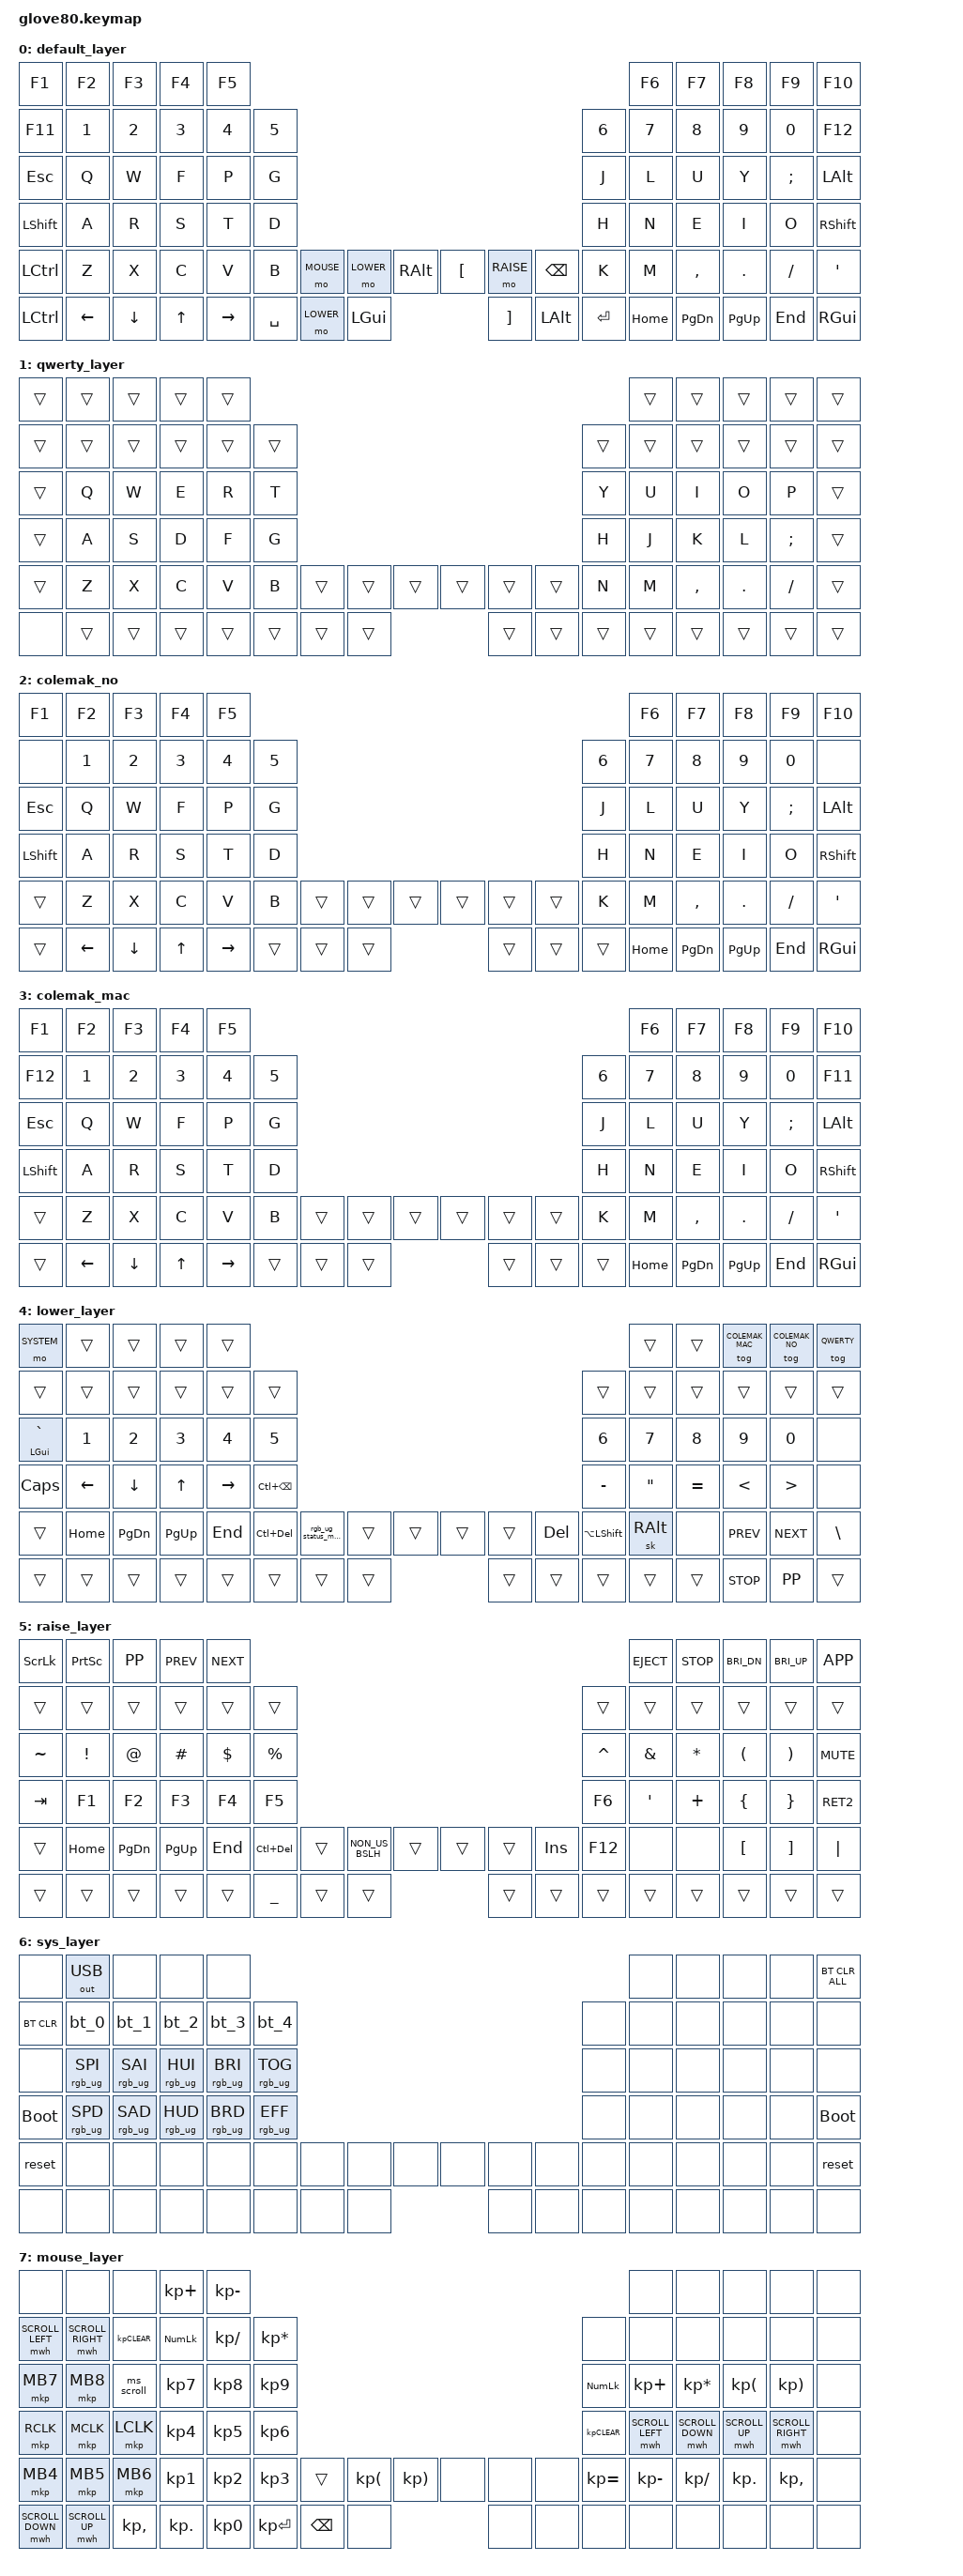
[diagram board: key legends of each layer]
/*
 * Copyright (c) 2020 The ZMK Contributors
 *
 * SPDX-License-Identifier: MIT
 */

#include <behaviors.dtsi>
#include <dt-bindings/zmk/keys.h>
#include <dt-bindings/zmk/bt.h>
#include <dt-bindings/zmk/mouse.h>
#include <dt-bindings/zmk/ext_power.h>
#include <dt-bindings/zmk/outputs.h>
#include <dt-bindings/zmk/rgb.h>

#define HYPER LC(LS(LG(LALT)))

#define DEFAULT    0
#define QWERTY     1
#define COLEMAK_NO 2
#define COLEMAK_MAC 3
#define LOWER      4
#define RAISE      5
#define SYSTEM     6
#define MOUSE      7
//34 is first key on 3rd row
/ {
    combos {
       compatible = "zmk,combos";
       combo_return {
           timeout-ms = <75>;
           key-positions = <35 36 37>;
           layers = <DEFAULT COLEMAK_NO COLEMAK_MAC QWERTY>;
           bindings = <&kp ENTER>;
       };
       combo_cbsp {
           timeout-ms = <50>;
           key-positions = <36 37 38>;
           layers = <DEFAULT COLEMAK_NO COLEMAK_MAC QWERTY>;
           bindings = <&kp LC(BSPC)>;
       };
       combo_tab {
           timeout-ms = <50>;
           key-positions = <41 42 43>;
           layers = <DEFAULT COLEMAK_NO COLEMAK_MAC QWERTY>;
           bindings = <&kp TAB>;
       };
       combo_esc {
           timeout-ms = <50>;
           key-positions = <42 43 44>;
           layers = <DEFAULT COLEMAK_NO COLEMAK_MAC QWERTY>;
           bindings = <&kp ESC>;
       };
       combo_aa {
           timeout-ms = <50>;
           key-positions = <24 35>;
           layers = <DEFAULT QWERTY>;
           bindings = <&nrw_aa>;
       };
       combo_ae {
           timeout-ms = <50>;
           key-positions = <42 44>;
           layers = <DEFAULT QWERTY>;
           bindings = <&nrw_ae>;
       };
       combo_os1 {
           timeout-ms = <50>;
           key-positions = <30 40>;
           layers = <DEFAULT QWERTY>;
           bindings = <&nrw_os>;
       };
       combo_no_aa {
           timeout-ms = <50>;
           key-positions = <24 35>;
           layers = <COLEMAK_NO>;
           bindings = <&kp LBKT>;
       };
       combo_no_ae {
           timeout-ms = <50>;
           key-positions = <42 44>;
           layers = <COLEMAK_NO>;
           bindings = <&kp SQT>;
       };
       combo_no_os1 {
           timeout-ms = <50>;
           key-positions = <30 40>;
           layers = <COLEMAK_NO>;
           bindings = <&kp SEMI>;
       };
       combo_mac_aa {
           timeout-ms = <50>;
           key-positions = <24 35>;
           layers = <COLEMAK_MAC>;
           bindings = <&kp LA(A)>;
       };
       combo_mac_ae {
           timeout-ms = <50>;
           key-positions = <42 44>;
           layers = <COLEMAK_MAC>;
           bindings = <&kp LA(SQT)>;
       };
       combo_mac_os1 {
           timeout-ms = <50>;
           key-positions = <30 40>;
           layers = <COLEMAK_MAC>;
           bindings = <&kp LA(O)>;
       };
       combo_tmux_prev {
           timeout-ms = <50>;
           key-positions = <35 60>;
           layers = <DEFAULT QWERTY COLEMAK_NO COLEMAK_MAC>;
           bindings = <&tmux_prev>;
       };
       combo_tmux_copy {
           timeout-ms = <50>;
           key-positions = <36 60>;
           layers = <DEFAULT QWERTY COLEMAK_NO COLEMAK_MAC>;
           bindings = <&tmux_copy>;
       };
       combo_tmux_list {
           timeout-ms = <50>;
           key-positions = <37 60>;
           layers = <DEFAULT QWERTY COLEMAK_NO COLEMAK_MAC>;
           bindings = <&tmux_list>;
       };
       combo_tmux_next {
           timeout-ms = <50>;
           key-positions = <38 60>;
           layers = <DEFAULT QWERTY COLEMAK_NO COLEMAK_MAC>;
           bindings = <&tmux_next>;
       };
       combo_tmux_create {
           timeout-ms = <50>;
           key-positions = <39 60>;
           layers = <DEFAULT QWERTY COLEMAK_NO COLEMAK_MAC>;
           bindings = <&tmux_create>;
       };
       combo_screen_prev {
           timeout-ms = <50>;
           key-positions = <35 61>;
           layers = <DEFAULT QWERTY COLEMAK_NO COLEMAK_MAC>;
           bindings = <&screen_prev>;
       };
       combo_screen_copy {
           timeout-ms = <50>;
           key-positions = <36 61>;
           layers = <DEFAULT QWERTY COLEMAK_NO COLEMAK_MAC>;
           bindings = <&screen_copy>;
       };
       combo_screen_list {
           timeout-ms = <50>;
           key-positions = <37 61>;
           layers = <DEFAULT QWERTY COLEMAK_NO COLEMAK_MAC>;
           bindings = <&screen_list>;
       };
       combo_screen_next {
           timeout-ms = <50>;
           key-positions = <38 61>;
           layers = <DEFAULT QWERTY COLEMAK_NO COLEMAK_MAC>;
           bindings = <&screen_next>;
       };
       combo_screen_create {
           timeout-ms = <50>;
           key-positions = <39 61>;
           layers = <DEFAULT QWERTY COLEMAK_NO COLEMAK_MAC>;
           bindings = <&screen_create>;
       };
       combo_mouse_up {
           timeout-ms = <50>;
           key-positions = <37 38>;
           layers = <LOWER>;
           bindings = <&mwh SCROLL_UP>;
       };
       combo_mouse_down {
           timeout-ms = <50>;
           key-positions = <35 36>;
           layers = <LOWER>;
           bindings = <&mwh SCROLL_DOWN>;
       };
    };
    behaviors {
    }; 
    macros {
          nrw_aa: nrw_aa {
              label = "Norwegian_aa";
              compatible = "zmk,behavior-macro";
              wait-ms = <1>;
              tap-ms = <1>;
              #binding-cells = <0>;
              bindings = <&macro_tap &kp RGUI &kp A  &kp A>;
          };
          nrw_ae: nrw_ae {
              label = "Norwegian_ae";
              compatible = "zmk,behavior-macro";
              wait-ms = <1>;
              tap-ms = <1>;
              #binding-cells = <0>;
              bindings = <&macro_tap &kp RGUI &kp A  &kp E>;
          };
          nrw_os: nrw_os {
              label = "Norwegian_os";
              compatible = "zmk,behavior-macro";
              wait-ms = <1>;
              tap-ms = <1>;
              #binding-cells = <0>;
              bindings = <&macro_tap &kp RGUI &kp O &kpc LS(RS(SLASH))>;
          };
          ms_scroll: ms_scroll {
              label = "Ploopy_scroll";
              compatible = "zmk,behavior-macro";
              wait-ms = <11>;
              tap-ms = <11>;
              #binding-cells = <0>;
              bindings = <&macro_tap &kp KP_NUM &kp KP_NUM>;
          };
          tmux_prev: tmux_prev {
              label = "TMUX_previous";
              compatible = "zmk,behavior-macro";
              wait-ms = <10>;
              tap-ms = <10>;
              #binding-cells = <0>;
              bindings 
                = <&macro_press &kp LCTL>
                , <&macro_tap &kp B>
                , <&macro_release &kp LCTL>
                , <&macro_tap  &kp P>;
          };
          tmux_next: tmux_next {
              label = "TMUX_next";
              compatible = "zmk,behavior-macro";
              wait-ms = <10>;
              tap-ms = <10>;
              #binding-cells = <0>;
              bindings 
                = <&macro_press &kp LCTL>
                , <&macro_tap &kp B>
                , <&macro_release &kp LCTL>
                , <&macro_tap  &kp N>;
          };
          tmux_list: tmux_list {
              label = "TMUX_list";
              compatible = "zmk,behavior-macro";
              wait-ms = <10>;
              tap-ms = <10>;
              #binding-cells = <0>;
              bindings 
                = <&macro_press &kp LCTL>
                , <&macro_tap &kp B>
                , <&macro_release &kp LCTL>
                , <&macro_tap  &kp W>;
          };
          tmux_copy: tmux_copy {
              label = "TMUX_copy";
              compatible = "zmk,behavior-macro";
              wait-ms = <10>;
              tap-ms = <10>;
              #binding-cells = <0>;
              bindings 
                = <&macro_press &kp LCTL>
                , <&macro_tap &kp B>
                , <&macro_release &kp LCTL>
                , <&macro_tap  &kp LBKT>;
          };
          tmux_create: tmux_create {
              label = "TMUX_create";
              compatible = "zmk,behavior-macro";
              wait-ms = <10>;
              tap-ms = <10>;
              #binding-cells = <0>;
              bindings 
                = <&macro_press &kp LCTL>
                , <&macro_tap &kp B>
                , <&macro_release &kp LCTL>
                , <&macro_tap  &kp C>;
          };

          screen_prev: screen_prev {
              label = "SCREEN_previous";
              compatible = "zmk,behavior-macro";
              wait-ms = <10>;
              tap-ms = <10>;
              #binding-cells = <0>;
              bindings 
                = <&macro_press &kp LCTL>
                , <&macro_tap &kp A>
                , <&macro_release &kp LCTL>
                , <&macro_tap  &kp P>;
          };
          screen_next: screen_next {
              label = "SCREEN_next";
              compatible = "zmk,behavior-macro";
              wait-ms = <10>;
              tap-ms = <10>;
              #binding-cells = <0>;
              bindings 
                = <&macro_press &kp LCTL>
                , <&macro_tap &kp A>
                , <&macro_release &kp LCTL>
                , <&macro_tap  &kp N>;
          };
          screen_list: screen_list {
              label = "SCREEN_list";
              compatible = "zmk,behavior-macro";
              wait-ms = <10>;
              tap-ms = <10>;
              #binding-cells = <0>;
              bindings 
                = <&macro_press &kp LCTL>
                , <&macro_tap &kp A>
                , <&macro_release &kp LCTL>
                , <&macro_tap &kp DQT>;
          };
          screen_copy: screen_copy {
              label = "SCREEN_copy";
              compatible = "zmk,behavior-macro";
              wait-ms = <10>;
              tap-ms = <10>;
              #binding-cells = <0>;
              bindings 
                = <&macro_press &kp LCTL>
                , <&macro_tap &kp A>
                , <&macro_release &kp LCTL>
                , <&macro_tap &kp ESC>;
          };
          screen_create: screen_create {
              label = "SCREEN_create";
              compatible = "zmk,behavior-macro";
              wait-ms = <10>;
              tap-ms = <10>;
              #binding-cells = <0>;
              bindings 
                = <&macro_press &kp LCTL>
                , <&macro_tap &kp A>
                , <&macro_release &kp LCTL>
                , <&macro_tap  &kp C>;
          };
        rgb_ug_status_macro: rgb_ug_status_macro_0 {
            label = "RGB_UG_STATUS";
            compatible = "zmk,behavior-macro";
            #binding-cells = <0>;
            bindings
                = <&rgb_ug RGB_STATUS>;
        };
        bt_0: bt_profile_macro_0 {
            label = "BT_0";
            compatible = "zmk,behavior-macro";
            #binding-cells = <0>;
            bindings
                = <&out OUT_BLE>,
                  <&bt BT_SEL 0>;
        };
        bt_1: bt_profile_macro_1 {
            label = "BT_1";
            compatible = "zmk,behavior-macro";
            #binding-cells = <0>;
            bindings
                = <&out OUT_BLE>,
                  <&bt BT_SEL 1>;
        };
        bt_2: bt_profile_macro_2 {
            label = "BT_2";
            compatible = "zmk,behavior-macro";
            #binding-cells = <0>;
            bindings
                = <&out OUT_BLE>,
                  <&bt BT_SEL 2>;
        };
        bt_3: bt_profile_macro_3 {
            label = "BT_3";
            compatible = "zmk,behavior-macro";
            #binding-cells = <0>;
            bindings
                = <&out OUT_BLE>,
                  <&bt BT_SEL 3>;
        };
        bt_4: bt_profile_macro_4 {
            label = "BT_4";
            compatible = "zmk,behavior-macro";
            #binding-cells = <0>;
            bindings
                = <&out OUT_BLE>,
                  <&bt BT_SEL 4>;
        };
    };

    magic: magic_hold_tap {
        compatible = "zmk,behavior-hold-tap";
        label = "MAGIC_HOLD_TAP";
        #binding-cells = <2>;
        flavor = "tap-preferred";
        tapping-term-ms = <200>;
        bindings = <&mo>, <&rgb_ug_status_macro>;
    };

    keymap {
        compatible = "zmk,keymap";
        default_layer {
            bindings = <
                &kp F1         &kp F2   &kp F3      &kp F4      &kp F5                                                                                         &kp F6   &kp F7      &kp F8      &kp F9      &kp F10
                &kp F11        &kp N1   &kp N2      &kp N3      &kp N4      &kp N5                                                                     &kp N6  &kp N7   &kp N8      &kp N9      &kp N0      &kp F12
                &kp ESC        &kp Q    &kp W       &kp F       &kp P       &kp G                                                                      &kp J   &kp L    &kp U       &kp Y       &kp SEMI    &kp LALT
                &kp LSHFT      &kp A    &kp R       &kp S       &kp T       &kp D                                                                      &kp H   &kp N    &kp E       &kp I       &kp O       &kp RSHFT
                &kp LCTRL      &kp Z    &kp X       &kp C       &kp V       &kp B   &mo MOUSE   &mo LOWER   &kp RALT  &kp LBKT   &mo RAISE  &kp BSPC   &kp K   &kp M    &kp COMMA   &kp DOT     &kp FSLH    &kp SQT
                &kp LCTRL      &kp LEFT &kp DOWN    &kp UP      &kp RIGHT           &kp SPACE   &mo LOWER   &kp LGUI  &kp RBKT   &kp LALT   &kp RET           &kp HOME &kp PG_DN   &kp PG_UP   &kp END     &kp RGUI
                >;
        };

        qwerty_layer {
            bindings = <
                &trans         &trans   &trans      &trans      &trans                                                                                         &trans   &trans      &trans      &trans      &trans
                &trans         &trans   &trans      &trans      &trans      &trans                                                                     &trans  &trans   &trans      &trans      &trans      &trans
                &trans         &kp Q    &kp W       &kp E       &kp R       &kp T                                                                      &kp Y   &kp U    &kp I       &kp O       &kp P       &trans
                &trans         &kp A    &kp S       &kp D       &kp F       &kp G                                                                      &kp H   &kp J    &kp K       &kp L       &kp SEMI    &trans
                &trans         &kp Z    &kp X       &kp C       &kp V       &kp B   &trans      &trans      &trans    &trans    &trans     &trans      &kp N   &kp M    &kp COMMA   &kp DOT     &kp FSLH    &trans
                &none          &trans   &trans      &trans      &trans              &trans      &trans      &trans    &trans    &trans     &trans              &trans   &trans      &trans      &trans      &trans
                >;
        };

        colemak_no {
            bindings = <
                &kp F1         &kp F2   &kp F3      &kp F4      &kp F5                                                                                         &kp F6   &kp F7      &kp F8      &kp F9      &kp F10
                &none          &kp N1   &kp N2      &kp N3      &kp N4      &kp N5                                                                     &kp N6  &kp N7   &kp N8      &kp N9      &kp N0      &none 
                &kp ESC        &kp Q    &kp W       &kp F       &kp P       &kp G                                                                      &kp J   &kp L    &kp U       &kp Y       &kp SEMI    &kp LALT
                &kp LSHFT      &kp A    &kp R       &kp S       &kp T       &kp D                                                                      &kp H   &kp N    &kp E       &kp I       &kp O       &kp RSHFT
                &trans         &kp Z    &kp X       &kp C       &kp V       &kp B   &trans      &trans      &trans    &trans    &trans     &trans      &kp K   &kp M    &kp COMMA   &kp DOT     &kp FSLH    &kp SQT
                &trans         &kp LEFT &kp DOWN    &kp UP      &kp RIGHT           &trans      &trans      &trans    &trans    &trans     &trans              &kp HOME &kp PG_DN   &kp PG_UP   &kp END     &kp RGUI
                >;
        };

        colemak_mac {
            bindings = <
                &kp F1         &kp F2   &kp F3      &kp F4      &kp F5                                                                                         &kp F6   &kp F7      &kp F8      &kp F9      &kp F10
                &kp F12        &kp N1   &kp N2      &kp N3      &kp N4      &kp N5                                                                     &kp N6  &kp N7   &kp N8      &kp N9      &kp N0      &kp F11 
                &kp ESC        &kp Q    &kp W       &kp F       &kp P       &kp G                                                                      &kp J   &kp L    &kp U       &kp Y       &kp SEMI    &kp LALT
                &kp LSHFT      &kp A    &kp R       &kp S       &kp T       &kp D                                                                      &kp H   &kp N    &kp E       &kp I       &kp O       &kp RSHFT
                &trans         &kp Z    &kp X       &kp C       &kp V       &kp B   &trans      &trans      &trans    &trans    &trans     &trans      &kp K   &kp M    &kp COMMA   &kp DOT     &kp FSLH    &kp SQT
                &trans         &kp LEFT &kp DOWN    &kp UP      &kp RIGHT           &trans      &trans      &trans    &trans    &trans     &trans              &kp HOME &kp PG_DN   &kp PG_UP   &kp END     &kp RGUI
                >;
        };

        lower_layer {
            bindings = <
                &mo SYSTEM     &trans   &trans      &trans      &trans                                                                                                          &trans   &trans    &tog COLEMAK_MAC &tog COLEMAK_NO &tog QWERTY
                &trans         &trans   &trans      &trans      &trans      &trans                                                                                &trans        &trans   &trans    &trans           &trans          &trans
                &mt LGUI GRAVE &kp N1   &kp N2      &kp N3      &kp N4      &kp N5                                                                                &kp N6        &kp N7   &kp N8    &kp N9           &kp N0          &none
                &kp CAPS       &kp LEFT &kp DOWN    &kp UP      &kp RIGHT   &kp LC(BSPC)                                                                          &kp MINUS     &kp DQT  &kp EQUAL &kp LT           &kp GT          &none
                &trans         &kp HOME &kp PG_DN   &kp PG_UP   &kp END     &kp LC(DEL)   &rgb_ug_status_macro &trans &trans     &trans    &trans     &kp DEL     &kp LA(LSHFT) &sk RALT &none     &kp K_PREV       &kp K_NEXT      &kp BSLH
                &trans         &trans   &trans      &trans      &trans                    &trans      &trans      &trans         &trans    &trans     &trans                    &trans   &trans    &kp K_STOP       &kp K_PP        &trans
                >;
        };

        raise_layer {
            bindings = <
                &kp SLCK       &kp PSCRN &kp K_PP    &kp K_PREV  &kp K_NEXT                                                                                                    &kp K_EJECT &kp K_STOP  &kp C_BRI_DN &kp C_BRI_UP &kp K_APP
                &trans         &trans    &trans      &trans      &trans      &trans                                                                             &trans         &trans      &trans      &trans       &trans       &trans
                &kp TILDE      &kp EXCL  &kp AT      &kp HASH    &kp DLLR    &kp PRCNT                                                                          &kp CARET      &kp AMPS    &kp ASTRK   &kp LPAR     &kp RPAR     &kp K_MUTE
                &kp TAB        &kp F1    &kp F2      &kp F3      &kp F4      &kp F5                                                                             &kp F6         &kp SQT     &kp PLUS    &kp LBRC     &kp RBRC     &kp RET2
                &trans         &kp HOME  &kp PG_DN   &kp PG_UP   &kp END     &kp LC(DEL)   &trans      &kp NON_US_BSLH &trans  &trans    &trans     &kp INS     &kp F12        &none       &none       &kp LBKT     &kp RBKT     &kp PIPE
                &trans         &trans    &trans      &trans      &trans                    &kp UNDER   &trans          &trans  &trans    &trans     &trans                     &trans      &trans      &trans       &trans       &trans
                >;
        };

        sys_layer {
            bindings = <
            &none             &out OUT_USB        &none           &none           &none                                                                                                &none &none &none &none  &bt BT_CLR_ALL
            &bt BT_CLR        &bt_0               &bt_1           &bt_2           &bt_3           &bt_4                                                                          &none &none &none &none &none  &none
            &none             &rgb_ug RGB_SPI     &rgb_ug RGB_SAI &rgb_ug RGB_HUI &rgb_ug RGB_BRI &rgb_ug RGB_TOG                                                                &none &none &none &none &none  &none
            &bootloader       &rgb_ug RGB_SPD     &rgb_ug RGB_SAD &rgb_ug RGB_HUD &rgb_ug RGB_BRD &rgb_ug RGB_EFF                                                                &none &none &none &none &none  &bootloader
            &reset            &none               &none           &none           &none           &none           &none     &none     &none            &none     &none     &none &none &none &none &none &none  &reset
            &none             &none               &none           &none           &none                           &none     &none     &none            &none     &none     &none       &none &none &none &none  &none
            >;
        };
        mouse_layer {
            bindings = <
            &none            &none             &none        &kp KP_PLUS &kp KP_MINUS                                                                                         &none            &none            &none          &none             &none
            &mwh SCROLL_LEFT &mwh SCROLL_RIGHT &kp KP_CLEAR &kp KP_NUM  &kp KP_DIVIDE &kp KP_MULTIPLY                                                           &none        &none            &none            &none          &none             &none
            &mkp MB7         &mkp MB8          &ms_scroll   &kp KP_N7   &kp KP_N8     &kp KP_N9                                                                 &kp KP_NUM   &kp KP_PLUS      &kp KP_MULTIPLY  &kp KP_LPAR    &kp KP_RPAR       &none
            &mkp RCLK        &mkp MCLK         &mkp LCLK    &kp KP_N4   &kp KP_N5     &kp KP_N6                                                                 &kp KP_CLEAR &mwh SCROLL_LEFT &mwh SCROLL_DOWN &mwh SCROLL_UP &mwh SCROLL_RIGHT &none
            &mkp MB4         &mkp MB5          &mkp MB6     &kp KP_N1   &kp KP_N2     &kp KP_N3 &trans       &kp KP_LPAR  &kp KP_RPAR &none     &none     &none &kp KP_EQUAL &kp KP_MINUS     &kp KP_DIVIDE    &kp KP_DOT     &kp KP_COMMA      &none
            &mwh SCROLL_DOWN &mwh SCROLL_UP    &kp KP_COMMA &kp KP_DOT  &kp KP_N0               &kp KP_ENTER &kp BSPC       &none        &none     &none     &none              &none            &none            &none          &none             &none
            >;
        };
    };
};
